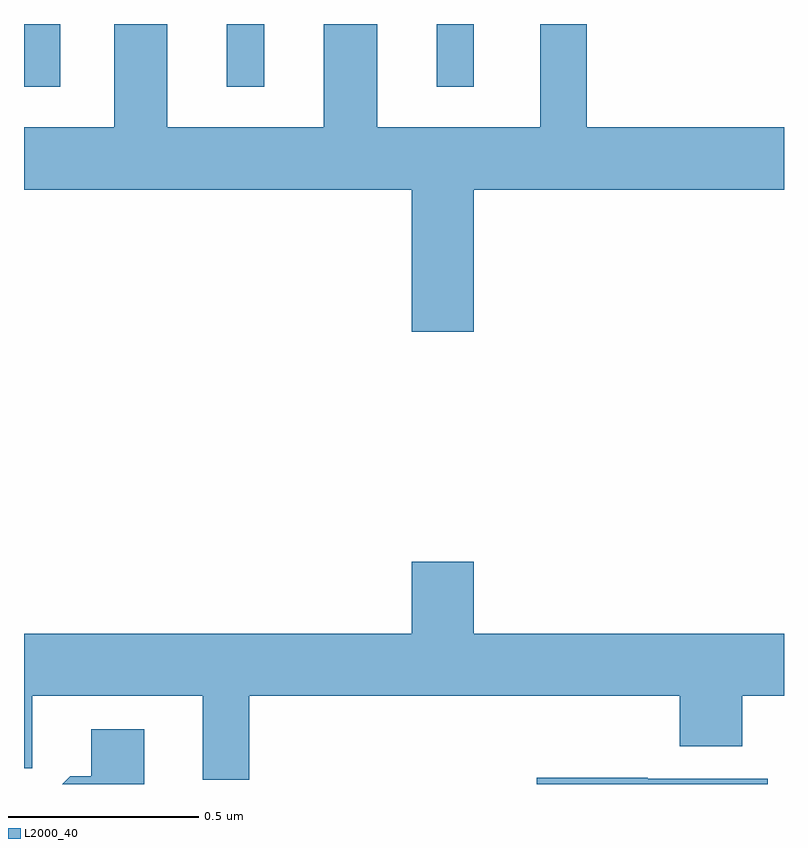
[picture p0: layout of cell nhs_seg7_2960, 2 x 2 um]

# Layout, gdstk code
import gdstk
lib = gdstk.Library(unit=1e-6, precision=1e-09)
def R(c, l, rs):  # rectangles x0, y0, x1, y1
    for r in rs: c.add(gdstk.rectangle(r[:2], r[2:], *l))
def P(c, l, *ps):  # polygons
    for p in ps: c.add(gdstk.Polygon(p, *l))
L2000_40 = (2000, 40)

nhs_seg7_2960 = lib.new_cell('nhs_seg7_2960')
R(nhs_seg7_2960, L2000_40, [(152,1052.835,152.095,1053), (152.534,1052.835,152.632,1053), (153.086,1052.835,153.184,1053)])
P(nhs_seg7_2960, L2000_40, [(153.184,1052.564),(154,1052.564),(154,1052.728),(153.481,1052.728),(153.481,1053),(153.359,1053),(153.359,1052.728),(152.929,1052.728),(152.929,1053),(152.789,1053),(152.789,1052.728),(152.377,1052.728),(152.377,1053),(152.237,1053),(152.237,1052.728),(152,1052.728),(152,1052.564),(153.02,1052.564),(153.02,1052.19),(153.184,1052.19)],
  [(152.593,1051.232),(153.725,1051.232),(153.725,1051.099),(153.89,1051.099),(153.89,1051.232),(154,1051.232),(154,1051.396),(153.184,1051.396),(153.184,1051.585),(153.02,1051.585),(153.02,1051.396),(152,1051.396),(152,1051.042),(152.022,1051.042),(152.022,1051.232),(152.471,1051.232),(152.471,1051.011),(152.593,1051.011)],
  [(152.317,1051.144),(152.177,1051.144),(152.177,1051.021),(152.122,1051.021),(152.101,1051),(152.317,1051)],
  [(153.957,1051.014),(153.641,1051.014),(153.641,1051.016),(153.349,1051.016),(153.349,1051),(153.957,1051)])

lib.write_gds('nhs_seg7_2960.gds')
